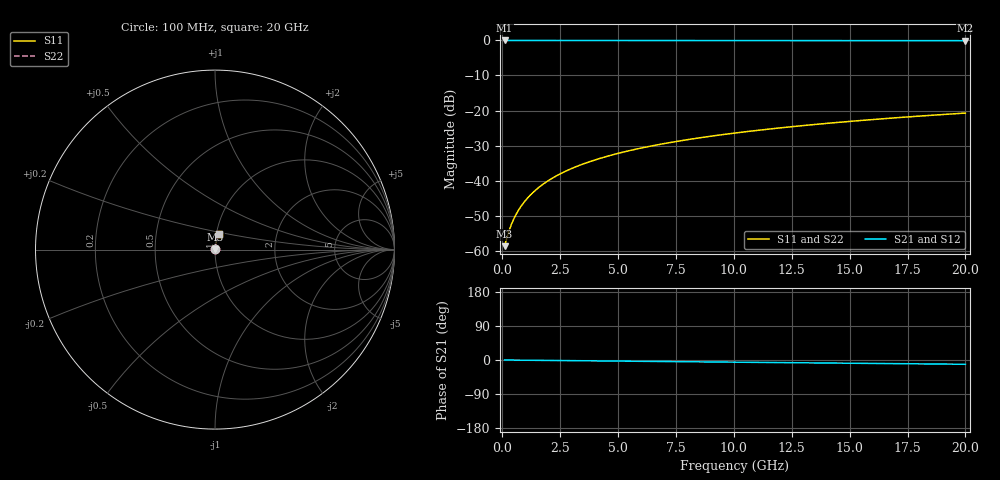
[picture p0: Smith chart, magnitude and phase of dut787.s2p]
! Touchstone file exported from HFSS 2026.1.0
!  File:  C:/ffzhzh/LocalFiles/Ansys_Project_Files/temp_train_BSMRDL_787_1783169482_55132.aedt
!  Generated:  08:52:33 PM Jul  4, 2026
!  Design:  BSMRDL
!  Project:  temp_train_BSMRDL_787_1783169482_55132
! Variables:
!  h_bsmrdl = 4.38um
!  h_ox = 20um
!  h_rdl = 5um
!  h_sub = 80um
!  h_tmrdl = 5um
!  h_tsv = 80um
!  h_via = 3um
!  l_bsmrdl = 161.48um
!  l_sub = 561.48um
!  l_tmrdl = 200um
!  m_sub = 200um
!  pitch = 28.58um
!  r_tsv = 6um
!  s_tmrdl = 10um
!  w_bsmrdl = 15.04um
!  w_sub = 500um
!  w_tmrdl = 12um
!  x_tsv_center1 = 206um
!  x_tsv_center2 = 382.52um
!  x_tsv_center3 = 594.52um
!  x_tsv_center4 = 771.04um
!  x_tsv_center5 = 983.04um
!  x_tsv_center6 = 1159.56um
# GHz S MA R 50.000000
! Terminal data exported
! Port[1] = BSM_RDL1_1_T1
! Port[2] = BSM_RDL1_1_T2
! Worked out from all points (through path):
!   200 points, 100 MHz to 20 GHz, reference 50 ohm
!   highest |S21| = -0.01 dB at 100 MHz (marker M1); lowest = -0.1 dB at 20 GHz (marker M2)
!   group delay of S21, straight-line fit = 1.56 ps
!   lowest |S11| = -58.7 dB at 100 MHz (marker M3), VSWR 1.00, Z = 50.1 + j0.0564 ohm
!   |S11| at or under -10 dB: start of sweep to end of sweep
!   |S22| runs from -58.7 to -20.7 dB; largest |S21 - S12| = 3e-15
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0.1  0.001163 28.9  0.999 -0.1  0.999 -0.1  0.001163 28.9
! Gamma 0 0 0 0
! Port Impedance 50 0 50 0
0.2  0.001531 46.0  0.9989 -0.1  0.9989 -0.1  0.001531 46.0
0.3  0.001961 55.5  0.9989 -0.2  0.9989 -0.2  0.001961 55.5
0.4  0.002408 61.3  0.9989 -0.2  0.9989 -0.2  0.002408 61.3
0.5  0.002863 65.4  0.9988 -0.3  0.9988 -0.3  0.002863 65.4
0.6  0.003324 68.5  0.9988 -0.4  0.9988 -0.4  0.003324 68.5
0.8  0.004261 72.6  0.9988 -0.5  0.9988 -0.5  0.004261 72.6
1  0.005214 75.3  0.9987 -0.6  0.9987 -0.6  0.005214 75.3
1.2  0.006176 77.2  0.9987 -0.7  0.9987 -0.7  0.006176 77.2
1.4  0.007145 78.5  0.9987 -0.8  0.9987 -0.8  0.007145 78.5
1.7  0.008605 79.9  0.9986 -1.0  0.9986 -1.0  0.008605 79.9
2.2  0.01104 81.1  0.9985 -1.3  0.9985 -1.3  0.01104 81.1
2.8  0.01396 81.9  0.9983 -1.6  0.9983 -1.6  0.01396 81.9
3.5  0.01734 82.2  0.9981 -2.0  0.9981 -2.0  0.01734 82.2
4.2  0.0207 82.3  0.9979 -2.4  0.9979 -2.4  0.0207 82.3
5  0.0245 82.2  0.9976 -2.9  0.9976 -2.9  0.0245 82.2
6.8  0.03291 81.6  0.9969 -3.9  0.9969 -3.9  0.03291 81.6
8.3  0.03982 81.0  0.9963 -4.8  0.9963 -4.8  0.03982 81.0
10.1  0.04802 80.3  0.9956 -5.8  0.9956 -5.8  0.04802 80.3
13.4  0.06287 78.9  0.9942 -7.6  0.9942 -7.6  0.06287 78.9
16.7  0.07754 77.3  0.9927 -9.5  0.9927 -9.5  0.07754 77.3
20  0.09205 75.8  0.991 -11.3  0.991 -11.3  0.09205 75.8
